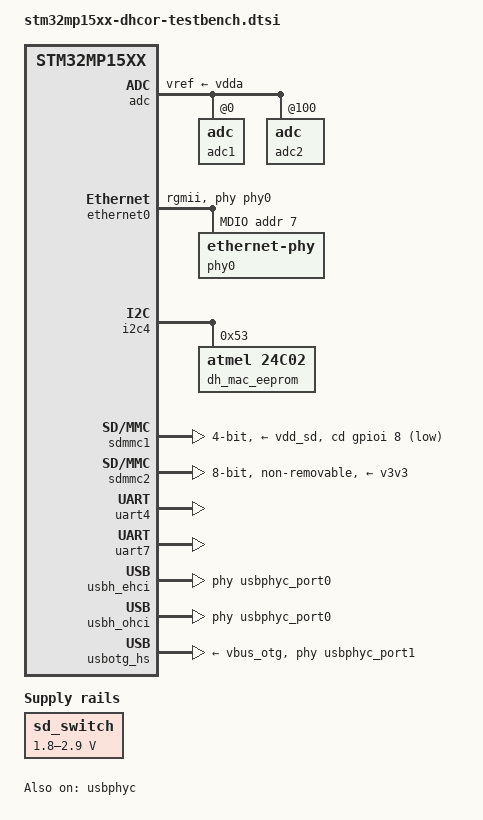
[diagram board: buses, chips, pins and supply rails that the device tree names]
// SPDX-License-Identifier: (GPL-2.0 OR BSD-3-Clause)
/*
 * Copyright (C) 2022 Marek Vasut <marex@denx.de>
 */

/ {
	aliases {
		ethernet0 = &ethernet0;
		mmc0 = &sdmmc1;
		mmc1 = &sdmmc2;
		serial0 = &uart4;
		serial1 = &uart7;
		spi0 = &qspi;
	};

	chosen {
		stdout-path = "serial0:115200n8";
	};

	sd_switch: regulator-sd_switch {
		compatible = "regulator-gpio";
		regulator-name = "sd_switch";
		regulator-min-microvolt = <1800000>;
		regulator-max-microvolt = <2900000>;
		regulator-type = "voltage";
		regulator-always-on;

		gpios = <&gpioi 5 GPIO_ACTIVE_HIGH>;
		gpios-states = <0>;
		states = <1800000 0x1>,
			 <2900000 0x0>;
	};
};

&adc {
	pinctrl-names = "default";
	pinctrl-0 = <&adc12_ain_pins_b>;
	vdd-supply = <&vdd>;
	vdda-supply = <&vdda>;
	vref-supply = <&vdda>;
	status = "okay";

	adc1: adc@0 {
		status = "okay";
		channel@0 {
			reg = <0>;
			st,min-sample-time-ns = <5000>;
		};
		channel@1 {
			reg = <1>;
			st,min-sample-time-ns = <5000>;
		};
		channel@6 {
			reg = <6>;
			st,min-sample-time-ns = <5000>;
		};
	};

	adc2: adc@100 {
		status = "okay";
		channel@0 {
			reg = <0>;
			st,min-sample-time-ns = <5000>;
		};
		channel@1 {
			reg = <1>;
			st,min-sample-time-ns = <5000>;
		};
		channel@2 {
			reg = <2>;
			st,min-sample-time-ns = <5000>;
		};
	};
};

&ethernet0 {
	status = "okay";
	pinctrl-0 = <&ethernet0_rgmii_pins_c>;
	pinctrl-1 = <&ethernet0_rgmii_sleep_pins_c>;
	pinctrl-names = "default", "sleep";
	phy-mode = "rgmii";
	max-speed = <1000>;
	phy-handle = <&phy0>;

	mdio {
		#address-cells = <1>;
		#size-cells = <0>;
		compatible = "snps,dwmac-mdio";
		reset-gpios = <&gpioz 2 GPIO_ACTIVE_LOW>;
		reset-delay-us = <1000>;
		reset-post-delay-us = <1000>;

		phy0: ethernet-phy@7 {
			reg = <7>;

			rxc-skew-ps = <1500>;
			rxdv-skew-ps = <540>;
			rxd0-skew-ps = <420>;
			rxd1-skew-ps = <420>;
			rxd2-skew-ps = <420>;
			rxd3-skew-ps = <420>;

			txc-skew-ps = <1440>;
			txen-skew-ps = <540>;
			txd0-skew-ps = <420>;
			txd1-skew-ps = <420>;
			txd2-skew-ps = <420>;
			txd3-skew-ps = <420>;
		};
	};
};

&i2c4 {
	dh_mac_eeprom: eeprom@53 {
		compatible = "atmel,24c02";
		reg = <0x53>;
		pagesize = <16>;
	};
};

&sdmmc1 {
	pinctrl-names = "default", "opendrain", "sleep";
	pinctrl-0 = <&sdmmc1_b4_pins_a &sdmmc1_dir_pins_b>;
	pinctrl-1 = <&sdmmc1_b4_od_pins_a &sdmmc1_dir_pins_b>;
	pinctrl-2 = <&sdmmc1_b4_sleep_pins_a &sdmmc1_dir_sleep_pins_b>;
	cd-gpios = <&gpioi 8 (GPIO_ACTIVE_LOW | GPIO_PULL_UP)>;
	disable-wp;
	st,sig-dir;
	st,neg-edge;
	st,use-ckin;
	bus-width = <4>;
	vmmc-supply = <&vdd_sd>;
	vqmmc-supply = <&sd_switch>;
	status = "okay";
};

&sdmmc2 {
	pinctrl-names = "default", "opendrain", "sleep";
	pinctrl-0 = <&sdmmc2_b4_pins_a &sdmmc2_d47_pins_c>;
	pinctrl-1 = <&sdmmc2_b4_od_pins_a &sdmmc2_d47_pins_c>;
	pinctrl-2 = <&sdmmc2_b4_sleep_pins_a &sdmmc2_d47_sleep_pins_c>;
	bus-width = <8>;
	mmc-ddr-1_8v;
	no-sd;
	no-sdio;
	non-removable;
	st,neg-edge;
	vmmc-supply = <&v3v3>;
	vqmmc-supply = <&v3v3>;
	status = "okay";
};

&uart4 {
	pinctrl-names = "default";
	pinctrl-0 = <&uart4_pins_b>;
	/delete-property/dmas;
	/delete-property/dma-names;
	status = "okay";
};

&uart7 {
	pinctrl-names = "default";
	pinctrl-0 = <&uart7_pins_a>;
	uart-has-rtscts;
	/delete-property/dmas;
	/delete-property/dma-names;
	status = "okay";
};

&usbh_ehci {
	phys = <&usbphyc_port0>;
	status = "okay";
};

&usbh_ohci {
	phys = <&usbphyc_port0>;
	status = "okay";
};

&usbotg_hs {
	pinctrl-0 = <&usbotg_hs_pins_a>;
	pinctrl-names = "default";
	phy-names = "usb2-phy";
	phys = <&usbphyc_port1 0>;
	status = "okay";
	vbus-supply = <&vbus_otg>;
};

&usbphyc {
	status = "okay";
};

&usbphyc_port0 {
	phy-supply = <&vdd_usb>;
};

&usbphyc_port1 {
	phy-supply = <&vdd_usb>;
};
